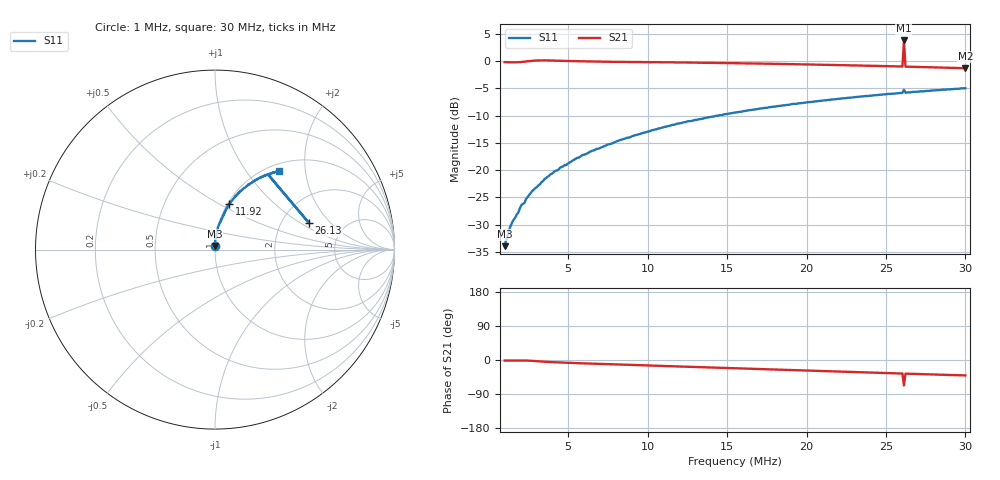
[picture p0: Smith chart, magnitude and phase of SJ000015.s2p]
!File created by NanoVNA-F V2
# Hz S RI R 50
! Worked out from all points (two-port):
!   301 points, 1 MHz to 30 MHz, reference 50 ohm
!   highest |S21| = 3.77 dB at 26.13 MHz (marker M1); lowest = -1.3 dB at 30 MHz (marker M2)
!   |S21| within 3 dB of the highest: 26.07248 MHz to 26.19362 MHz (121.1 kHz wide, 0.464 % of centre)
!   lowest |S11| = -33.9 dB at 1 MHz (marker M3), VSWR 1.04, Z = 49.9 + j2.01 ohm
!   |S11| at or under -10 dB: start of sweep to 14.44 MHz
!   S12 and S22 are empty: the file has one direction only
!   S11 on the Smith chart (normalised r, x): 1 MHz: 1.00, +0.04; 11.92 MHz: 1.02, +0.56; 26.13 MHz: 2.84, +1.19; 30 MHz: 1.13, +1.44
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1000000  -0.000266 0.0201  0.9765 -0.0269  0 0  0 0
1289998  -0.0003 0.0285  0.9737 -0.0274  0 0  0 0
1483330  -0.000853 0.0334  0.9724 -0.0276  0 0  0 0
1869994  0.00063 0.0411  0.9756 -0.0243  0 0  0 0
2063326  0.00102 0.0481  0.9801 -0.0237  0 0  0 0
2256658  0.00175 0.0503  0.9859 -0.0248  0 0  0 0
2353324  0.00181 0.0546  0.9914 -0.0259  0 0  0 0
2739988  0.00536 0.0641  1.006 -0.04  0 0  0 0
3899980  0.0101 0.0913  1.005 -0.0973  0 0  0 0
4769974  0.0155 0.1105  0.9945 -0.1236  0 0  0 0
4866640  0.014 0.1102  0.9939 -0.1265  0 0  0 0
5833300  0.0203 0.134  0.9841 -0.1504  0 0  0 0
8153284  0.0419 0.1818  0.9613 -0.2016  0 0  0 0
1.06666e7  0.0663 0.2316  0.9408 -0.257  0 0  0 0
1.192326e7  0.08 0.2548  0.9286 -0.2849  0 0  0 0
1.54999e7  0.1275 0.3123  0.8865 -0.3562  0 0  0 0
2.03332e7  0.2016 0.3714  0.8169 -0.4416  0 0  0 0
2.51665e7  0.2799 0.4146  0.7374 -0.5111  0 0  0 0
2.603649e7  0.2934 0.419  0.7223 -0.5207  0 0  0 0
2.613316e7  0.5245 0.1473  0.5987 -1.423  0 0  0 0
2.622983e7  0.2968 0.4192  0.7187 -0.5225  0 0  0 0
2.99998e7  0.3564 0.4361  0.6516 -0.5609  0 0  0 0
